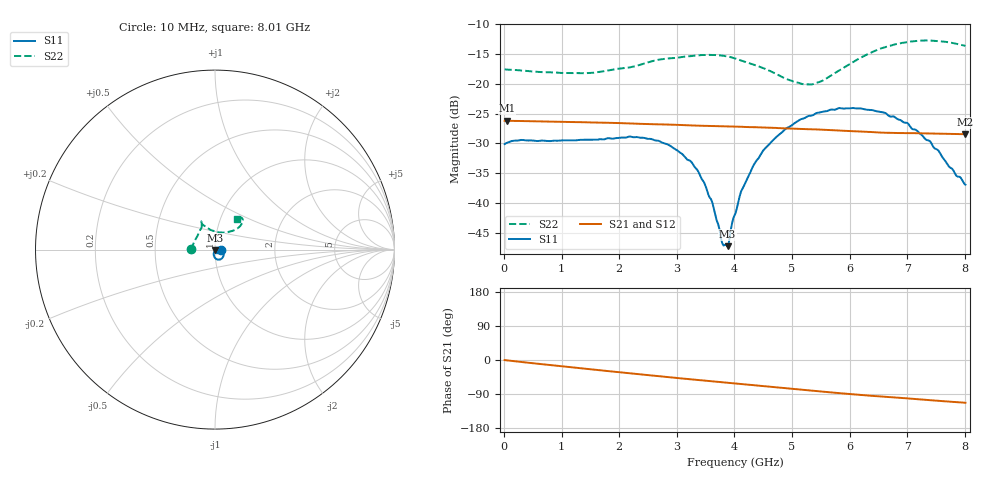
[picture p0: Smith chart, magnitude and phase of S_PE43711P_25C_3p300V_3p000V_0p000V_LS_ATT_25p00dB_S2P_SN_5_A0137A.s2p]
! Device ID: PE43711P
! File Path: z:\PE43711P\CHAR_NOM_04282014\AMB\3p300\LS_ATT_25p00dB\PE43711P_AMB_3p300V_3p000V_0p000V_LS_ATT_25p00dB_S2P_SN_5_A0137A.s2p
! Serial: 5
! Lot: A0137A
! Temp: 25C
! VDD: 3.300
! VSS: 0.000
! Control_Hi: 3.000
! Control_Lo: 0.000
! Attenuation Step: 25.00dB
! Port 1: RF1
! Port 2: RF2
! ThroughPath:1-2
! IDD: 0.0001274962
! ISS: -1.794e-007
#  Hz  S  RI  R  50
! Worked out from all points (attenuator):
!   801 points, 10 MHz to 8.01 GHz, reference 50 ohm
!   highest |S21| = -26.22 dB at 50 MHz (marker M1); lowest = -28.5 dB at 8.01 GHz (marker M2)
!   lowest |S11| = -47.3 dB at 3.88 GHz (marker M3), VSWR 1.01, Z = 50.2 - j0.399 ohm
!   |S11| at or under -10 dB: start of sweep to end of sweep
!   |S22| runs from -20.1 to -12.7 dB; largest |S21 - S12| = 0.00012
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1e7  0.0311 0.000423  0.0488 -0.0002  0.0489 -0.000201  -0.1325 0.001
5e7  0.0319 0.000822  0.0488 -0.000775  0.0489 -0.000775  -0.1317 0.00336
1.35e9  0.0338 -0.00121  0.0441 -0.0179  0.0441 -0.0179  -0.1052 0.0625
2.19e9  0.036 0.00114  0.0379 -0.0268  0.0379 -0.0268  -0.0801 0.1118
2.68e9  0.0329 0.00443  0.0336 -0.0309  0.0336 -0.0308  -0.074 0.1411
3.06e9  0.0257 0.00572  0.03 -0.0337  0.03 -0.0337  -0.0723 0.151
3.35e9  0.0185 0.00469  0.0271 -0.0353  0.0271 -0.0353  -0.0727 0.1566
3.61e9  0.0102 0.00122  0.0246 -0.0367  0.0246 -0.0367  -0.0749 0.1575
3.79e9  0.00405 -0.00211  0.0229 -0.0376  0.0229 -0.0376  -0.0761 0.1547
3.84e9  0.00294 -0.00333  0.0224 -0.0379  0.0224 -0.0379  -0.0761 0.1528
3.88e9  0.00171 -0.00398  0.0219 -0.038  0.0219 -0.0381  -0.0755 0.1516
4.01e9  -0.00141 -0.00786  0.0205 -0.0386  0.0205 -0.0386  -0.0737 0.1458
4.15e9  -0.00403 -0.0128  0.019 -0.0391  0.019 -0.0391  -0.068 0.1392
4.34e9  -0.0071 -0.0198  0.017 -0.0397  0.0171 -0.0397  -0.0587 0.1319
4.51e9  -0.00747 -0.0269  0.0152 -0.0402  0.0152 -0.0402  -0.0492 0.1255
4.89e9  -0.00326 -0.0418  0.0112 -0.0407  0.0112 -0.0407  -0.0209 0.1083
5.35e9  0.0102 -0.0532  0.00654 -0.0409  0.00657 -0.041  0.0264 0.0954
6.05e9  0.0378 -0.0499  -0.000323 -0.04  -0.000342 -0.04  0.1062 0.1077
6.68e9  0.0473 -0.0256  -0.00521 -0.0384  -0.00518 -0.0384  0.1492 0.1444
7e9  0.0447 -0.0141  -0.00751 -0.0378  -0.00748 -0.0378  0.1553 0.1615
7.39e9  0.033 -0.00282  -0.0105 -0.0368  -0.0105 -0.0368  0.1475 0.1777
8.01e9  0.0141 -0.00146  -0.0146 -0.0348  -0.0147 -0.0347  0.1213 0.1689
